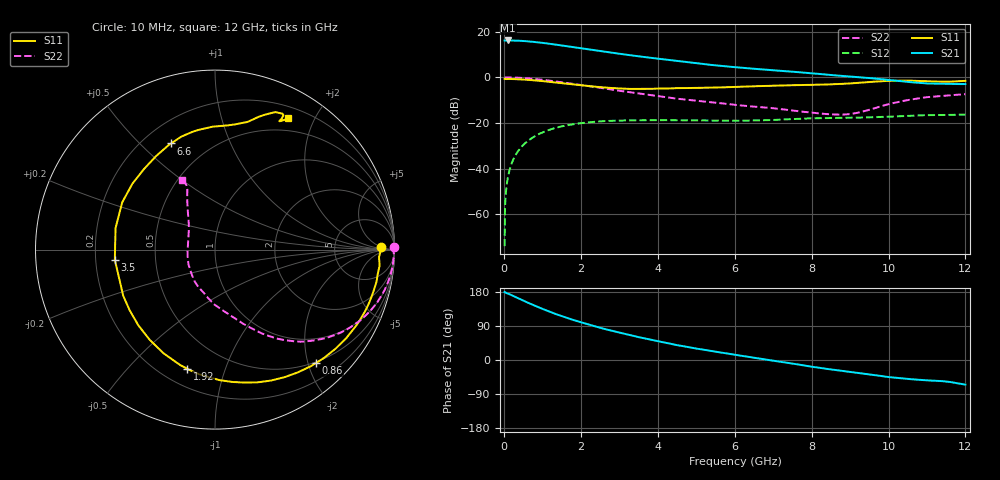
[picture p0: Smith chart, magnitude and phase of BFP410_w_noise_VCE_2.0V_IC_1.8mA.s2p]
! Infineon Technologies  Discrete & RF Semiconductors
! BFP410
! VCE =  2.0 V,  IC =  1.8 mA
! Common Emitter S-Parameters:  Nov 2015
# GHz  S  MA  R  50
!  f  S11  S21  S12  S22
! GHz  MAG  ANG  MAG  ANG  MAG  ANG  MAG  ANG
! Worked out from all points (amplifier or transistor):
!   243 points, 10 MHz to 12 GHz, reference 50 ohm
!   highest |S21| = 16.1 dB at 100 MHz (marker M1)
!   |S21| within 3 dB of that: start of sweep to 1.812 GHz
!   unconditionally stable (mu >= 1): 4.158 GHz to end of sweep
!   at 240 MHz: K = 0.04, MSG = 26.0 dB, |S12| = -35.9 dB
!   at 1.84 GHz: K = 0.36, MSG = 16.8 dB, |S12| = -20.5 dB
!   at 12 GHz: K = 1.17, MAG = 4.2 dB, |S12| = -16.3 dB
!   lowest NFmin = 0.81 dB at 900 MHz
!   S11 on the Smith chart (normalised r, x): 10 MHz: 25, +5; 860 MHz: 0.48, -2.14; 1.92 GHz: 0.30, -0.75; 3.5 GHz: 0.28, -0.05; 6.6 GHz: 0.31, +0.62; 12 GHz: 0.34, +1.65
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0.01  0.9246 0.9  6.388 179.4  0.0002 130.9  0.9999 0.7
0.015  0.923 0.1  6.395 179.2  0.0007 95.0  0.9965 0.3
0.025  0.9204 -1.1  6.399 178.8  0.0017 89.4  0.9938 -0.3
0.05  0.9148 -2.6  6.386 177.0  0.0035 88.6  0.9972 -1.2
0.1  0.9214 -5.6  6.415 175.3  0.0067 87.5  0.9963 -2.9
0.22  0.9159 -12.3  6.393 169.7  0.0148 83.1  0.9914 -6.6
0.44  0.8997 -24.7  6.291 159.4  0.0293 76.5  0.9725 -13.1
0.6  0.8825 -33.8  6.152 151.8  0.0394 71.5  0.9518 -17.7
0.86  0.846 -48.3  5.853 140.6  0.0547 63.5  0.9082 -24.8
1.3  0.7768 -72.2  5.259 122.9  0.0765 51.1  0.8199 -35.5
1.6  0.7289 -87.6  4.836 112.0  0.0877 43.5  0.7573 -41.7
1.92  0.6818 -103.1  4.413 101.8  0.0971 36.4  0.6957 -47.5
2.02  0.668 -107.8  4.286 98.8  0.0995 34.4  0.6772 -49.0
2.72  0.5885 -140.8  3.53 79.0  0.1109 21.3  0.5504 -59.4
3.5  0.561 -174.2  2.887 60.2  0.1147 10.7  0.442 -69.2
4.1  0.5665 164.8  2.498 47.5  0.1152 4.9  0.3767 -76.8
5  0.5887 141.4  2.025 30.1  0.1136 -1.6  0.3066 -90.5
6.1  0.6188 120.6  1.64 12.3  0.1119 -5.3  0.2447 -106.1
6.6  0.64 112.5  1.514 4.4  0.1138 -6.2  0.2241 -115.6
8.2  0.6892 87.5  1.184 -20.5  0.1271 -12.6  0.1613 -158.8
10.2  0.8407 65.0  0.841 -46.9  0.1393 -20.1  0.2819 122.8
12  0.836 60.9  0.711 -65.0  0.153 -31.7  0.4279 115.2
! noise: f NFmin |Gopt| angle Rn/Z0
0.45  0.85  0.54  8  0.31
0.9  0.81  0.52  22  0.28
1.8  1.05  0.41  56  0.24
2.4  1.11  0.38  66  0.23
5.5  2.29  0.37  -144  0.22
10  4.11  0.71  -57  2.47
